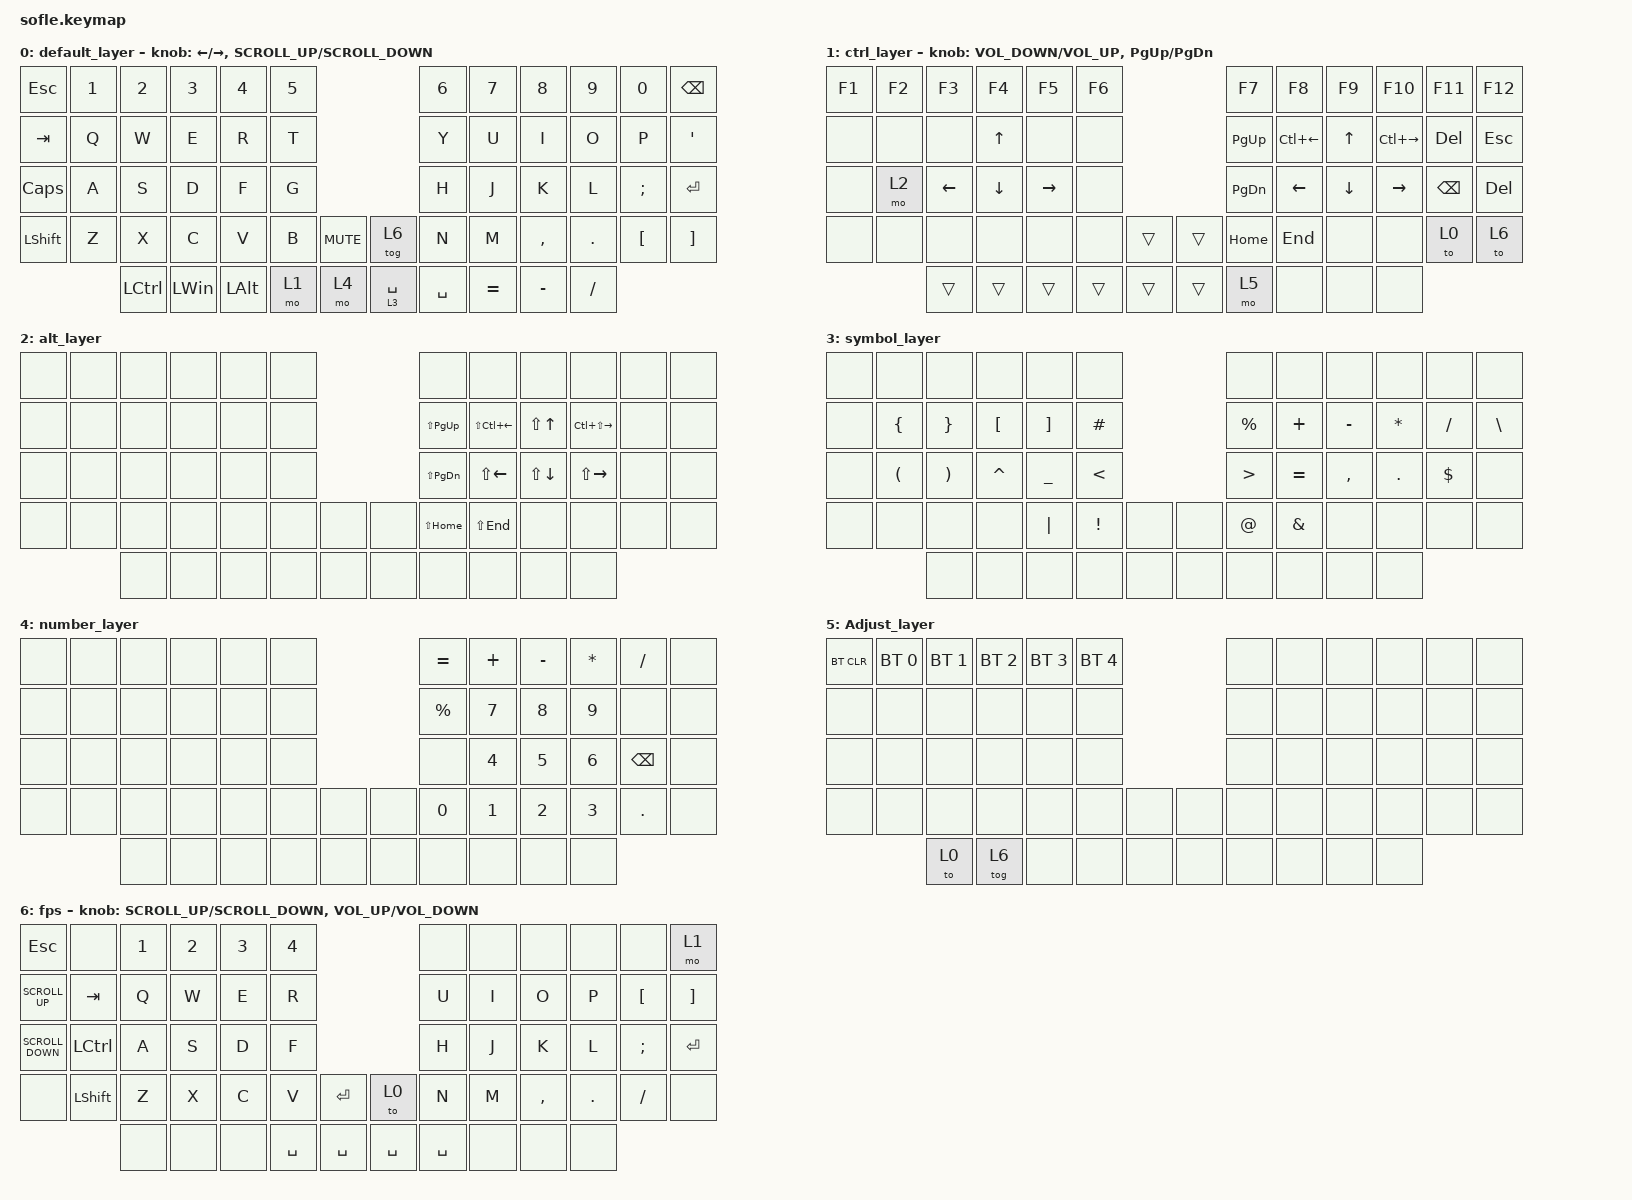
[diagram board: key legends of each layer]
/*
 * Copyright (c) 2020 The ZMK Contributors
 *
 * SPDX-License-Identifier: MIT
 */

#include <behaviors.dtsi>
#include <dt-bindings/zmk/bt.h>
#include <dt-bindings/zmk/keys.h>

#define BASE 0
#define LOWER 1
#define RAISE 2
#define ADJUST 3

/ {
    // Activate ADJUST layer by pressing raise and lower

    conditional_layers {
        compatible = "zmk,conditional-layers";

        adjust_layer {
            if-layers = <1 6>;
            then-layer = <6>;
        };
    };

    behaviors {
        instant_layertap: instant_layertap {
            compatible = "zmk,behavior-hold-tap";
            label = "INSTANT_LAYERTAP";
            bindings = <&mo>, <&kp>;

            #binding-cells = <2>;
            tapping-term-ms = <5000>;
        };
    };

    keymap {
        compatible = "zmk,keymap";

        default_layer {
            // ------------------------------------------------------------------------------------------------------------
            // |  ESC  |  1  |  2  |  3   |  4   |  5   |                   |  6   |  7    |  8    |  9   |   0   |   -   |
            // |  TAB  |  Q  |  W  |  E   |  R   |  T   |                   |  Y   |  U    |  I    |  O   |   P   | BKSPC |
            // | SHIFT |  A  |  S  |  D   |  F   |  G   |                   |  H   |  J    |  K    |  L   |   ;   |   '   |
            // | LCTRL |  Z  |  X  |  C   |  V   |  B   |  MUTE  |  |       |  N   |  M    |  ,    |  .   |   /   | SHIFT |
            //               | GUI | CLCK | ALT  | ENTER|  LOWER |  | RAISE | SPACE | CTRL | ALT   | GUI  |

            bindings = <
&kp ESC       &kp N1  &kp N2     &kp N3        &kp N4        &kp N5                                           &kp N6     &kp N7     &kp N8     &kp N9     &kp N0            &kp BACKSPACE
&kp TAB       &kp Q   &kp W      &kp E         &kp R         &kp T                                            &kp Y      &kp U      &kp I      &kp O      &kp P             &kp SQT
&kp CAPSLOCK  &kp A   &kp S      &kp D         &kp F         &kp G                                            &kp H      &kp J      &kp K      &kp L      &kp SEMI          &kp ENTER
&kp LSHFT     &kp Z   &kp X      &kp C         &kp V         &kp B   &kp C_MUTE    &tog 6                     &kp N      &kp M      &kp COMMA  &kp DOT    &kp LEFT_BRACKET  &kp RIGHT_BRACKET
                      &kp LCTRL  &kp LEFT_WIN  &kp LEFT_ALT  &mo 1   &mo 4         &instant_layertap 3 SPACE  &kp SPACE  &kp EQUAL  &kp MINUS  &kp SLASH
            >;

            sensor-bindings =
                <&inc_dec_kp LEFT RIGHT>,
                <&inc_dec_kp K_SCROLL_UP K_SCROLL_DOWN>;
        };

        ctrl_layer {
            // TODO: Some binds are waiting for shifted keycode support.
            // ------------------------------------------------------------------------------------------------------------
            // |       |  F1 |  F2 |  F3  |  F4  |  F5  |                   |  F6  |  F7   |  F8   |  F9  |  F10  |   ~   |
            // | `     |   1 |   2 |   3  |   4  |   5  |                   |   6  |   7   |   8   |   9  |    0  |  F12  |
            // |       |  !  |  @  |  #   |  $   |  %   |                   |  ^   |  &    |  *    |  (   |   )   |   |   |
            // |       |  =  |  -  |  +   |  {   |  -   |        |  |       |  [   |  ]    |  ;    |  :   |   \   |       |
            //               |     |      |      |      |        |  |       |      |       |       |      |

            bindings = <
&kp F1  &kp F2  &kp F3    &kp F4    &kp F5     &kp F6                    &kp F7         &kp F8        &kp F9    &kp F10        &kp F11        &kp F12
&none   &none   &none     &kp UP    &none      &none                     &kp PAGE_UP    &kp LC(LEFT)  &kp UP    &kp LC(RIGHT)  &kp DELETE     &kp ESCAPE
&none   &mo 2   &kp LEFT  &kp DOWN  &kp RIGHT  &none                     &kp PAGE_DOWN  &kp LEFT      &kp DOWN  &kp RIGHT      &kp BACKSPACE  &kp DEL
&none   &none   &none     &none     &none      &none   &trans    &trans  &kp HOME       &kp END       &none     &none          &to 0          &to 6
                &trans    &trans    &trans     &trans  &trans    &trans  &mo 5          &none         &none     &none
            >;

            sensor-bindings =
                <&inc_dec_kp C_VOLUME_DOWN C_VOL_UP>,
                <&inc_dec_kp  PG_UP PG_DN>;
        };

        alt_layer {
            bindings = <
&none  &none  &none  &none  &none  &none                  &none              &none             &none         &none              &none  &none
&none  &none  &none  &none  &none  &none                  &kp LS(PAGE_UP)    &kp LS(LC(LEFT))  &kp LS(UP)    &kp LC(LS(RIGHT))  &none  &none
&none  &none  &none  &none  &none  &none                  &kp LS(PAGE_DOWN)  &kp LS(LEFT)      &kp LS(DOWN)  &kp LS(RIGHT)      &none  &none
&none  &none  &none  &none  &none  &none  &none    &none  &kp LS(HOME)       &kp LS(END)       &none         &none              &none  &none
              &none  &none  &none  &none  &none    &none  &none              &none             &none         &none
            >;
        };

        symbol_layer {
            bindings = <
&none  &none                 &none                  &none      &none           &none                            &none             &none          &none      &none         &none       &none
&none  &kp LEFT_BRACE        &kp RIGHT_BRACE        &kp LBKT   &kp RBKT        &kp HASH                         &kp PERCENT       &kp PLUS       &kp MINUS  &kp ASTERISK  &kp FSLH    &kp BSLH
&none  &kp LEFT_PARENTHESIS  &kp RIGHT_PARENTHESIS  &kp CARET  &kp UNDERSCORE  &kp LESS_THAN                    &kp GREATER_THAN  &kp EQUAL      &kp COMMA  &kp DOT       &kp DOLLAR  &none
&none  &none                 &none                  &none      &kp PIPE        &kp EXCLAMATION  &none    &none  &kp AT_SIGN       &kp AMPERSAND  &none      &none         &none       &none
                             &none                  &none      &none           &none            &none    &none  &none             &none          &none      &none
            >;
        };

        number_layer {
            bindings = <
&none  &none  &none  &none  &none  &none                  &kp EQUAL    &kp PLUS  &kp MINUS  &kp ASTERISK  &kp FSLH  &none
&none  &none  &none  &none  &none  &none                  &kp PERCENT  &kp N7    &kp N8     &kp N9        &none     &none
&none  &none  &none  &none  &none  &none                  &none        &kp N4    &kp N5     &kp N6        &kp BSPC  &none
&none  &none  &none  &none  &none  &none  &none    &none  &kp N0       &kp N1    &kp N2     &kp N3        &kp DOT   &none
              &none  &none  &none  &none  &none    &none  &none        &none     &none      &none
            >;
        };

        Adjust_layer {
            bindings = <
&bt BT_CLR  &bt BT_SEL 0  &bt BT_SEL 1  &bt BT_SEL 2  &bt BT_SEL 3  &bt BT_SEL 4                  &none  &none  &none  &none  &none  &none
&none       &none         &none         &none         &none         &none                         &none  &none  &none  &none  &none  &none
&none       &none         &none         &none         &none         &none                         &none  &none  &none  &none  &none  &none
&none       &none         &none         &none         &none         &none         &none    &none  &none  &none  &none  &none  &none  &none
                          &to 0         &tog 6        &none         &none         &none    &none  &none  &none  &none  &none
            >;
        };

        fps {
            bindings = <
&kp ESCAPE         &none           &kp N1  &kp N2  &kp N3  &kp N4                             &none      &none  &none      &none    &none     &mo 1
&kp K_SCROLL_UP    &kp TAB         &kp Q   &kp W   &kp E   &kp R                              &kp U      &kp I  &kp O      &kp P    &kp LBKT  &kp RBKT
&kp K_SCROLL_DOWN  &kp LCTRL       &kp A   &kp S   &kp D   &kp F                              &kp H      &kp J  &kp K      &kp L    &kp SEMI  &kp ENTER
&none              &kp LEFT_SHIFT  &kp Z   &kp X   &kp C   &kp V      &kp ENTER    &to 0      &kp N      &kp M  &kp COMMA  &kp DOT  &kp FSLH  &none
                                   &none   &none   &none   &kp SPACE  &kp SPACE    &kp SPACE  &kp SPACE  &none  &none      &none
            >;

            sensor-bindings =
                <&inc_dec_kp K_SCROLL_UP K_SCROLL_DOWN>,
                <&inc_dec_kp K_VOLUME_UP K_VOLUME_DOWN>;
        };
    };
};
